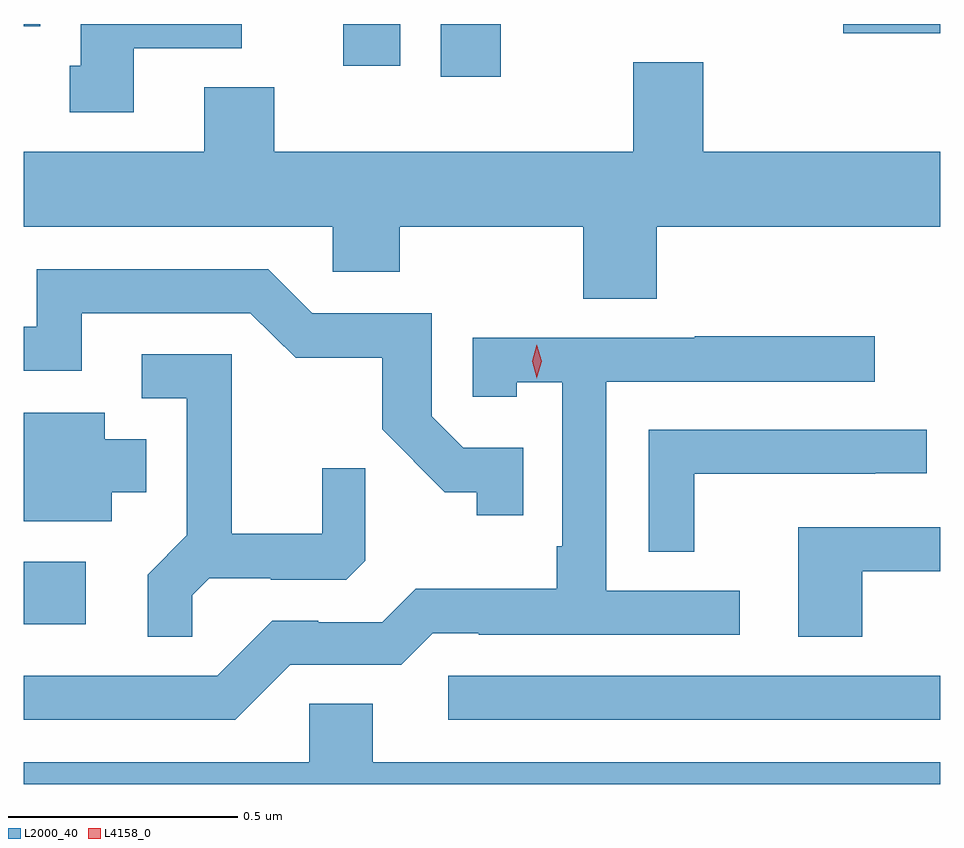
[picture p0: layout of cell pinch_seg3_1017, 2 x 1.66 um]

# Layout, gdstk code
import gdstk
lib = gdstk.Library(unit=1e-6, precision=1e-09)
def R(c, l, rs):  # rectangles x0, y0, x1, y1
    for r in rs: c.add(gdstk.rectangle(r[:2], r[2:], *l))
def P(c, l, *ps):  # polygons
    for p in ps: c.add(gdstk.Polygon(p, *l))
L2000_40 = (2000, 40)
L4158_0 = (4158, 0)

pinch_seg3_1017 = lib.new_cell('pinch_seg3_1017')
R(pinch_seg3_1017, L2000_40, [(486.825,666.54,487.899,666.636), (485.899,666.749,486.034,666.885), (486.809,667.944,486.94,668.059), (486.596,667.968,486.721,668.059), (487.688,668.039,487.899,668.059), (485.899,668.054,485.935,668.059)])
P(pinch_seg3_1017, L2000_40, [(486.139,668.006),(486.375,668.006),(486.375,668.059),(486.023,668.059),(486.023,667.968),(485.999,667.968),(485.999,667.866),(486.139,667.866)],
  [(487.28,667.616),(487.899,667.616),(487.899,667.78),(487.382,667.78),(487.382,667.975),(487.229,667.975),(487.229,667.78),(486.446,667.78),(486.446,667.921),(486.293,667.921),(486.293,667.78),(485.899,667.78),(485.899,667.616),(486.573,667.616),(486.573,667.518),(486.72,667.518),(486.72,667.616),(487.12,667.616),(487.12,667.459),(487.28,667.459)],
  [(486.989,667.134),(486.858,667.134),(486.789,667.203),(486.789,667.428),(486.528,667.428),(486.432,667.524),(485.927,667.524),(485.927,667.398),(485.899,667.398),(485.899,667.302),(486.025,667.302),(486.025,667.428),(486.393,667.428),(486.492,667.33),(486.681,667.33),(486.681,667.174),(486.818,667.037),(486.888,667.037),(486.888,666.987),(486.989,666.987)],
  [(486.48,666.66),(486.723,666.66),(486.792,666.729),(486.892,666.729),(486.892,666.726),(487.462,666.726),(487.462,666.822),(487.17,666.822),(487.17,667.278),(487.756,667.278),(487.756,667.377),(487.363,667.377),(487.363,667.374),(486.879,667.374),(486.879,667.245),(486.975,667.245),(486.975,667.277),(487.074,667.277),(487.074,666.919),(487.062,666.919),(487.062,666.826),(486.754,666.826),(486.681,666.753),(486.542,666.753),(486.542,666.756),(486.441,666.756),(486.321,666.636),(485.899,666.636),(485.899,666.54),(486.36,666.54)],
  [(486.267,666.812),(486.304,666.849),(486.438,666.849),(486.438,666.846),(486.603,666.846),(486.644,666.887),(486.644,667.089),(486.55,667.089),(486.55,666.946),(486.353,666.946),(486.353,667.338),(486.156,667.338),(486.156,667.242),(486.255,667.242),(486.255,666.943),(486.169,666.857),(486.169,666.721),(486.267,666.721)],
  [(486.091,667.037),(486.166,667.037),(486.166,667.153),(486.076,667.153),(486.076,667.21),(485.899,667.21),(485.899,666.974),(486.091,666.974)],
  [(487.362,667.077),(487.757,667.077),(487.757,667.078),(487.87,667.078),(487.87,667.173),(487.263,667.173),(487.263,666.907),(487.362,666.907)],
  [(487.729,666.864),(487.899,666.864),(487.899,666.96),(487.589,666.96),(487.589,666.721),(487.729,666.721)],
  [(487.899,666.448),(486.661,666.448),(486.661,666.575),(486.522,666.575),(486.522,666.448),(485.899,666.448),(485.899,666.4),(487.899,666.4)])
P(pinch_seg3_1017, L4158_0, [(487.019,667.286),(487.019,667.287),(487.009,667.323),(487.019,667.359),(487.019,667.359),(487.019,667.359),(487.029,667.323),(487.019,667.287)])

lib.write_gds('pinch_seg3_1017.gds')
